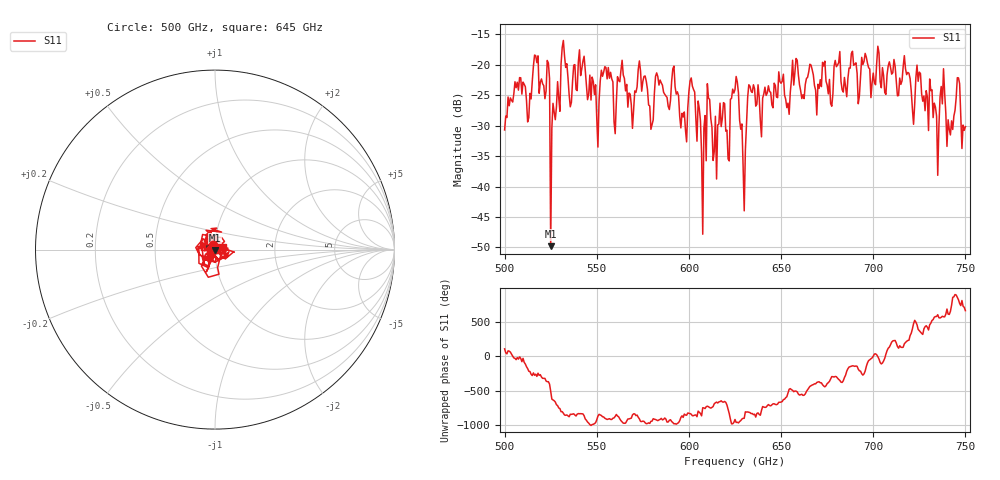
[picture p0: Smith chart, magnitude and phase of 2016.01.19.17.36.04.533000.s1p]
!Created with skrf (http://scikit-rf.org).
# GHz S RI R 50.0
!freq ReS11 ImS11
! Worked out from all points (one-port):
!   401 points, 500 GHz to 750 GHz, reference 50 ohm
!   lowest |S11| = -49.8 dB at 525 GHz (marker M1), VSWR 1.01, Z = 49.7 - j0.187 ohm
!   |S11| at or under -10 dB: start of sweep to end of sweep
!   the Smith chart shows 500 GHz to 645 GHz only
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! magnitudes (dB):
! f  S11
! 500 GHz  -30.7
! 506.9 GHz  -22.9
! 513.1 GHz  -28.7
! 516.9 GHz  -18.5
! 523.1 GHz  -19.3
! 525 GHz  -49.8
! 531.2 GHz  -17.1
! 550 GHz  -28.8
! 562.5 GHz  -22.8
! 579.4 GHz  -30.6
! 583.1 GHz  -21.9
! 593.8 GHz  -24.4
! 597.5 GHz  -27.7
! 601.9 GHz  -23.5
! 608.1 GHz  -30.4
! 611.2 GHz  -25.7
! 614.4 GHz  -28.5
! 625 GHz  -24.1
! 629.4 GHz  -36.5
! 633.8 GHz  -24.3
! 656.2 GHz  -19.2
! 687.5 GHz  -20.6
! 718.8 GHz  -21.3
! 734.4 GHz  -28.4
! 737.5 GHz  -26.4
! 741.2 GHz  -30.6
! 745.6 GHz  -22.1
! 750 GHz  -30.2
